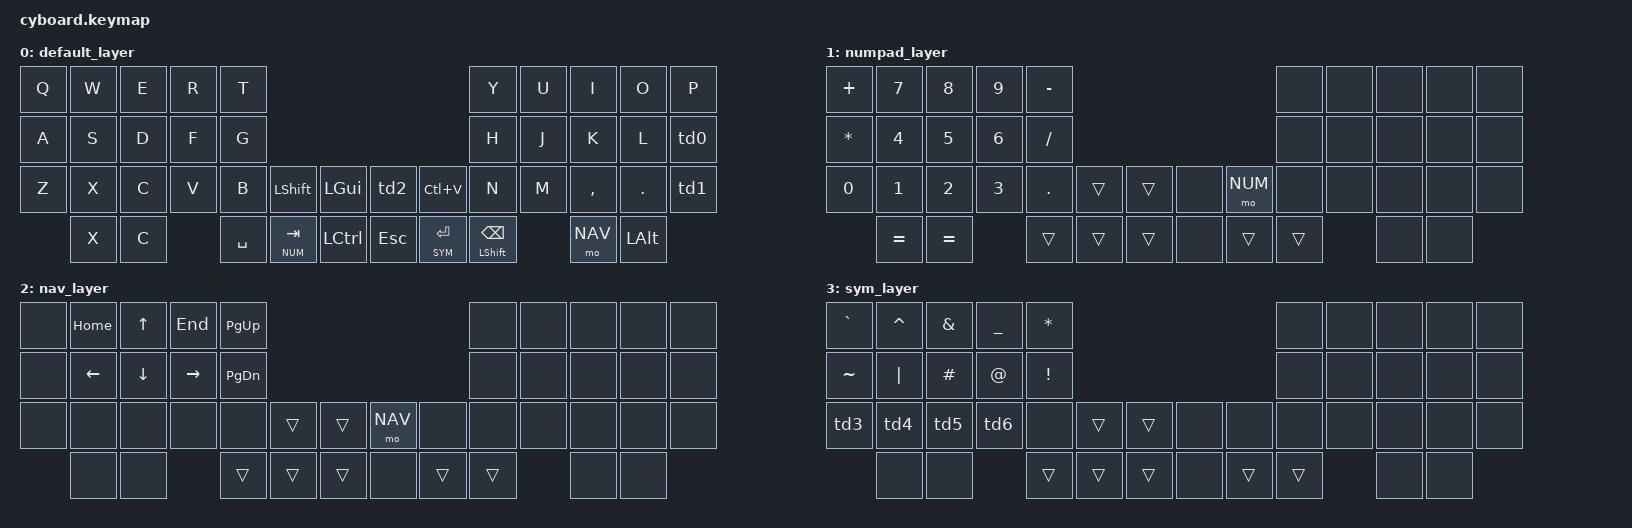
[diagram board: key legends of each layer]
#include <behaviors.dtsi>
#include <dt-bindings/zmk/keys.h>

#define DEFAULT 0
#define NUM    1
#define NAV    2
#define SYM    3


/ {
    behaviors {
td0: tap_dance_0 {
            compatible = "zmk,behavior-tap-dance";
            label = "TAP_DANCE_0";
            #binding-cells = <0>;
            tapping-term-ms = <200>;
            bindings = <&kp SQT>, <&kp SEMI>, <&kp COLON>;
        };
td1: tap_dance_1 {
            compatible = "zmk,behavior-tap-dance";
            label = "TAP_DANCE_1";
            #binding-cells = <0>;
            tapping-term-ms = <200>;
            bindings = <&kp FSLH>, <&kp BSLH>;
        };
    
td2: tap_dance_2 {
            compatible = "zmk,behavior-tap-dance";
            label = "TAP_DANCE_2";
            #binding-cells = <0>;
            tapping-term-ms = <200>;
            bindings = <&kp LC(C)>, <&kp LC(X)>;
        };
td3: tap_dance_3 {
            compatible = "zmk,behavior-tap-dance";
            label = "TAP_DANCE_3";
            #binding-cells = <0>;
            tapping-term-ms = <200>;
            bindings = <&kp LS(COMMA)>, <&kp LS(DOT)>;
        };
td4: tap_dance_4 {
            compatible = "zmk,behavior-tap-dance";
            label = "TAP_DANCE_4";
            #binding-cells = <0>;
            tapping-term-ms = <200>;
            bindings = <&kp LBKT>, <&kp RBKT>;
        };
td5: tap_dance_5 {
            compatible = "zmk,behavior-tap-dance";
            label = "TAP_DANCE_5";
            #binding-cells = <0>;
            tapping-term-ms = <200>;
            bindings = <&kp LS(LBKT)>, <&kp LS(RBKT)>;
        };
td6: tap_dance_6 {
            compatible = "zmk,behavior-tap-dance";
            label = "TAP_DANCE_6";
            #binding-cells = <0>;
            tapping-term-ms = <200>;
            bindings = <&kp LS(N9)>, <&kp LS(N0)>;
        };
    };

    keymap {
        compatible = "zmk,keymap";

        default_layer {
            bindings = <
 &kp Q     &kp W     &kp E     &kp R    &kp T                                                            &kp Y       &kp U  &kp I      &kp O     &kp P
 &kp A     &kp S     &kp D     &kp F    &kp G                                                            &kp H       &kp J  &kp K      &kp L     &td0
 &kp Z     &kp X     &kp C     &kp V    &kp B     &kp LSHIFT    &kp LGUI          &td2     &kp LC(V)     &kp N       &kp M  &kp COMMA  &kp DOT   &td1
           &kp X     &kp C              &kp SPC   &lt NUM TAB   &kp LCTRL         &kp ESC  &lt SYM RET   &mt LSHIFT BSPC    &mo NAV    &kp LALT
            >;
        };
        
        numpad_layer {
            bindings = <
 &kp PLUS &kp N7      &kp N8     &kp N9    &kp MINUS                                        &none  &none  &none  &none  &none
 &kp STAR &kp N4      &kp N5     &kp N6    &kp FSLH                                         &none  &none  &none  &none  &none
 &kp N0   &kp N1      &kp N2     &kp N3    &kp DOT    &trans  &trans        &none  &mo NUM  &none  &none  &none  &none  &none
          &kp EQUAL   &kp EQUAL            &trans     &trans  &trans        &none  &trans   &trans        &none  &none
            >;
        };
        
        nav_layer {
            bindings = <
 &none    &kp HOME  &kp UP     &kp END    &kp PG_UP                                          &none  &none  &none  &none  &none
 &none    &kp LEFT  &kp DOWN   &kp RIGHT  &kp PG_DN                                          &none  &none  &none  &none  &none
 &none    &none     &none      &none      &none       &trans  &trans         &mo NAV  &none  &none  &none  &none  &none  &none
          &none     &none                 &trans      &trans  &trans         &none  &trans   &trans        &none  &none
            >;
        };

        sym_layer {
            bindings = <
 &kp GRAVE  &kp CARET   &kp AMPS  &kp UNDER  &kp STAR                                     &none  &none  &none  &none  &none
 &kp TILDE  &kp PIPE    &kp HASH  &kp AT     &kp EXCL                                     &none  &none  &none  &none  &none
 &td3       &td4        &td5      &td6       &none   &trans  &trans         &none  &none  &none  &none  &none  &none  &none
            &none       &none                &trans  &trans  &trans         &none  &trans &trans        &none  &none
            >;
        };
    };
};
